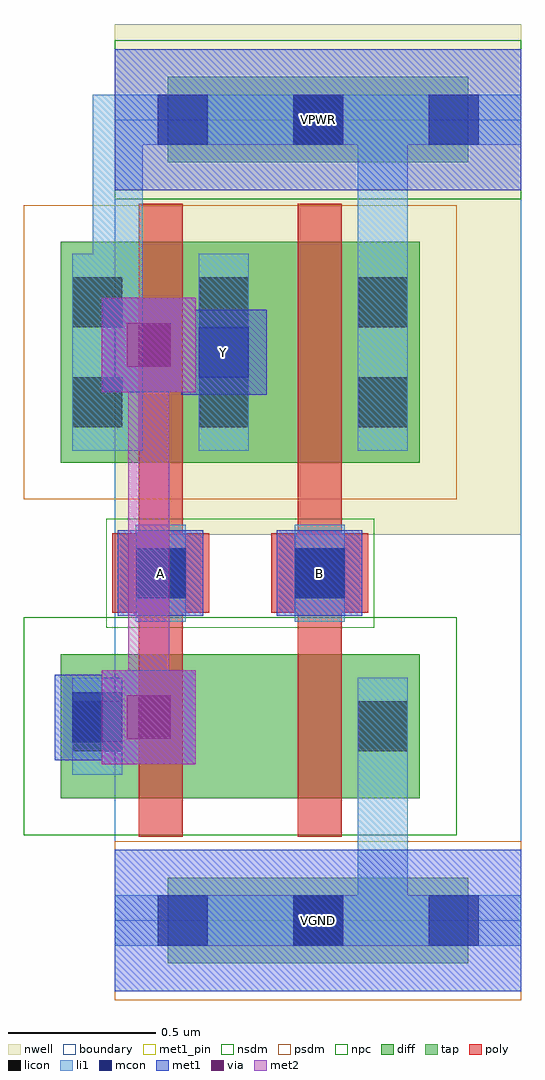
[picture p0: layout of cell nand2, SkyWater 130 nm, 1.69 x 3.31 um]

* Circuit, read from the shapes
.subckt nand2 A B VGND VPWR Y
XM1 n1 A Y VGND sky130_fd_pr__nfet_01v8 w=0.49 l=0.15
XM2 VGND B n1 VGND sky130_fd_pr__nfet_01v8 w=0.49 l=0.15
XM3 Y A VPWR VPWR sky130_fd_pr__pfet_01v8 w=0.75 l=0.15
XM4 VPWR B Y VPWR sky130_fd_pr__pfet_01v8 w=0.75 l=0.15
.ends

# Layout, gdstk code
import gdstk
lib = gdstk.Library(unit=1e-6, precision=1e-09)
def R(c, l, rs):  # rectangles x0, y0, x1, y1
    for r in rs: c.add(gdstk.rectangle(r[:2], r[2:], *l))
def A(c, l, x, y, w, h, nx, ny, dx, dy):  # array of equal rectangles
    R(c, l, [(x+i*dx, y+j*dy, x+i*dx+w, y+j*dy+h) for i in range(nx) for j in range(ny)])
nwell = (64, 20)
diff = (65, 20)
tap = (65, 44)
poly = (66, 20)
licon = (66, 44)
li1 = (67, 20)
mcon = (67, 44)
met1_pin = (68, 16)
met1 = (68, 20)
via = (68, 44)
met2 = (69, 20)
nsdm = (93, 44)
psdm = (94, 20)
npc = (95, 20)
boundary = (235, 4)

nand2 = lib.new_cell('nand2')
R(nand2, nwell, [(0,1.31,1.38,3.045)])
R(nand2, diff, [(-0.185,0.415,1.035,0.905), (-0.185,1.555,1.035,2.305)])
R(nand2, tap, [(0.18,-0.145,1.2,0.145), (0.18,2.575,1.2,2.865)])
R(nand2, poly, [(0.08,0.285,0.23,2.435), (0.62,0.285,0.77,2.435), (-0.01,1.045,0.32,1.315), (0.53,1.045,0.86,1.315)])
R(nand2, licon, [(0.605,-0.085,0.775,0.085), (-0.145,0.575,0.025,0.745), (0.825,0.575,0.995,0.745), (0.07,1.095,0.24,1.265), (0.61,1.095,0.78,1.265), (-0.145,1.675,0.025,1.845), (0.285,1.675,0.455,1.845), (0.825,1.675,0.995,1.845), (-0.145,2.015,0.025,2.185), (0.285,2.015,0.455,2.185), (0.825,2.015,0.995,2.185), (0.605,2.635,0.775,2.805)])
R(nand2, li1, [(0,-0.085,1.38,0.085), (0.825,-0.085,0.995,0.825), (-0.145,0.495,0.025,0.825), (0.825,0.495,0.995,0.825), (0.07,1.015,0.24,1.345), (0.61,1.015,0.78,1.345), (-0.145,1.595,0.025,2.265), (-0.075,1.595,0.095,2.805), (0.285,1.595,0.455,2.265), (0.825,1.595,0.995,2.265), (0.825,1.595,0.995,2.805), (0,2.635,1.38,2.805)])
A(nand2, mcon, 0.145, -0.085, 0.17, 0.17, 3, 2, 0.46, 2.72)
R(nand2, mcon, [(-0.145,0.605,0.025,0.775), (0.07,1.095,0.24,1.265), (0.61,1.095,0.78,1.265), (0.285,1.845,0.455,2.015)])
R(nand2, met1_pin, [(0,-0.24,1.38,0.24), (0.01,1.035,0.3,1.325), (0.55,1.035,0.84,1.325), (0.225,1.785,0.515,2.075), (0,2.48,1.38,2.96)])
R(nand2, met1, [(0,-0.24,1.38,0.24), (-0.045,0.53,0.275,0.85), (-0.205,0.545,0.085,0.835), (-0.13,0.62,0.185,0.76), (0.01,1.035,0.3,1.325), (0.55,1.035,0.84,1.325), (0.225,1.785,0.515,2.075), (-0.045,1.795,0.275,2.115), (0.045,1.885,0.415,2.025), (0.275,1.885,0.415,2.025), (0,2.48,1.38,2.96)])
R(nand2, via, [(0.04,0.615,0.19,0.765), (0.04,1.88,0.19,2.03)])
R(nand2, met2, [(-0.045,0.53,0.275,0.85), (0.045,0.62,0.185,2.025), (-0.045,1.795,0.275,2.115)])
R(nand2, nsdm, [(-0.31,0.29,1.16,1.03), (0,2.45,1.38,2.99)])
R(nand2, psdm, [(0,-0.27,1.38,0.27), (-0.31,1.43,1.16,2.43)])
R(nand2, npc, [(-0.03,0.995,0.88,1.365)])
R(nand2, boundary, [(0,0,1.38,2.72)])
nand2.add(gdstk.Label('A', (0.155,1.18), layer=68, texttype=5))
nand2.add(gdstk.Label('B', (0.695,1.18), layer=68, texttype=5))
nand2.add(gdstk.Label('Y', (0.37,1.93), layer=68, texttype=5))
nand2.add(gdstk.Label('VPWR', (0.69,2.72), layer=68, texttype=5))
nand2.add(gdstk.Label('VGND', (0.69,0), layer=68, texttype=5))
nand2.add(gdstk.Label('A', (0.155,1.18), layer=68, texttype=16))
nand2.add(gdstk.Label('B', (0.695,1.18), layer=68, texttype=16))
nand2.add(gdstk.Label('Y', (0.37,1.93), layer=68, texttype=16))
nand2.add(gdstk.Label('VPWR', (0.69,2.72), layer=68, texttype=16))
nand2.add(gdstk.Label('VGND', (0.69,0), layer=68, texttype=16))

lib.write_gds('nand2.gds')
